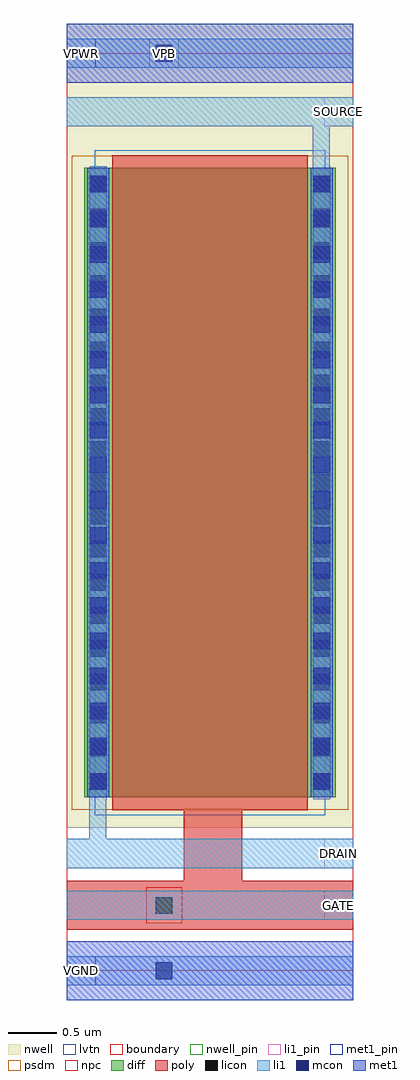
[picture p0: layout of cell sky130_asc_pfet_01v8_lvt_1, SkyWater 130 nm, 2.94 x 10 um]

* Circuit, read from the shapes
.subckt sky130_asc_pfet_01v8_lvt_1 DRAIN GATE SOURCE VGND VPB VPWR
XM1 SOURCE GATE DRAIN VPB sky130_fd_pr__pfet_01v8_lvt w=6.45 l=2
.ends

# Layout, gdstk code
import gdstk
lib = gdstk.Library(unit=1e-6, precision=1e-09)
def R(c, l, rs):  # rectangles x0, y0, x1, y1
    for r in rs: c.add(gdstk.rectangle(r[:2], r[2:], *l))
def A(c, l, x, y, w, h, nx, ny, dx, dy):  # array of equal rectangles
    R(c, l, [(x+i*dx, y+j*dy, x+i*dx+w, y+j*dy+h) for i in range(nx) for j in range(ny)])
nwell_pin = (64, 16)
nwell = (64, 20)
diff = (65, 20)
poly = (66, 20)
licon = (66, 44)
li1_pin = (67, 16)
li1 = (67, 20)
mcon = (67, 44)
met1_pin = (68, 16)
met1 = (68, 20)
psdm = (94, 20)
npc = (95, 20)
lvtn = (125, 44)
boundary = (235, 4)

sky130_asc_pfet_01v8_lvt = lib.new_cell('sky130_asc_pfet_01v8_lvt_1')
R(sky130_asc_pfet_01v8_lvt, nwell_pin, [(0.85,9.25,1.15,9.55)])
R(sky130_asc_pfet_01v8_lvt, nwell, [(0,1.465,2.94,9.7)])
R(sky130_asc_pfet_01v8_lvt, diff, [(0.18,1.775,2.76,8.225)])
R(sky130_asc_pfet_01v8_lvt, poly, [(0,0.42,2.94,0.92), (1.2,0.92,1.8,1.645), (0.47,1.645,2.47,8.355)])
A(sky130_asc_pfet_01v8_lvt, licon, 0.24, 1.855, 0.17, 0.17, 1, 19, 0, 0.34)
A(sky130_asc_pfet_01v8_lvt, licon, 2.53, 1.855, 0.17, 0.17, 1, 19, 0, 0.34)
R(sky130_asc_pfet_01v8_lvt, licon, [(0.915,0.585,1.085,0.755)])
R(sky130_asc_pfet_01v8_lvt, li1_pin, [(2.64,0.52,2.94,0.82), (2.64,1.05,2.94,1.35), (2.64,8.65,2.94,8.95)])
R(sky130_asc_pfet_01v8_lvt, li1, [(0,-0.15,2.94,0.15), (0,0.52,2.94,0.82), (0,1.05,2.94,1.35), (0.235,1.35,0.405,1.755), (0.235,1.755,0.41,1.87), (2.53,1.755,2.7,8.13), (0.24,1.87,0.41,8.245), (2.525,8.13,2.7,8.245), (2.525,8.245,2.695,8.65), (0,8.65,2.94,8.95), (0,9.25,2.94,9.55)])
A(sky130_asc_pfet_01v8_lvt, mcon, 0.24, 1.855, 0.17, 0.17, 1, 18, 0, 0.36)
A(sky130_asc_pfet_01v8_lvt, mcon, 2.53, 1.855, 0.17, 0.17, 1, 18, 0, 0.36)
R(sky130_asc_pfet_01v8_lvt, mcon, [(0.915,-0.085,1.085,0.085), (0.915,9.315,1.085,9.485)])
R(sky130_asc_pfet_01v8_lvt, met1_pin, [(0,-0.15,0.3,0.15), (0,9.25,0.3,9.55)])
R(sky130_asc_pfet_01v8_lvt, met1, [(0,-0.3,2.94,0.3), (0.21,1.775,0.44,8.225), (2.5,1.775,2.73,8.225), (0,9.1,2.94,9.7)])
R(sky130_asc_pfet_01v8_lvt, psdm, [(0.055,1.65,2.885,8.35)])
R(sky130_asc_pfet_01v8_lvt, npc, [(0.815,0.485,1.185,0.855)])
R(sky130_asc_pfet_01v8_lvt, lvtn, [(0.29,1.595,2.65,8.405)])
R(sky130_asc_pfet_01v8_lvt, boundary, [(0,0,2.94,9.4)])
sky130_asc_pfet_01v8_lvt.add(gdstk.Label('GATE', (2.79,0.67), layer=67, texttype=16))
sky130_asc_pfet_01v8_lvt.add(gdstk.Label('SOURCE', (2.79,8.8), layer=67, texttype=16))
sky130_asc_pfet_01v8_lvt.add(gdstk.Label('DRAIN', (2.79,1.2), layer=67, texttype=16))
sky130_asc_pfet_01v8_lvt.add(gdstk.Label('VPB', (1,9.4), layer=64, texttype=16))
sky130_asc_pfet_01v8_lvt.add(gdstk.Label('VPWR', (0.15,9.4), layer=68, texttype=16))
sky130_asc_pfet_01v8_lvt.add(gdstk.Label('VGND', (0.15,0), layer=68, texttype=16))

lib.write_gds('sky130_asc_pfet_01v8_lvt_1.gds')
